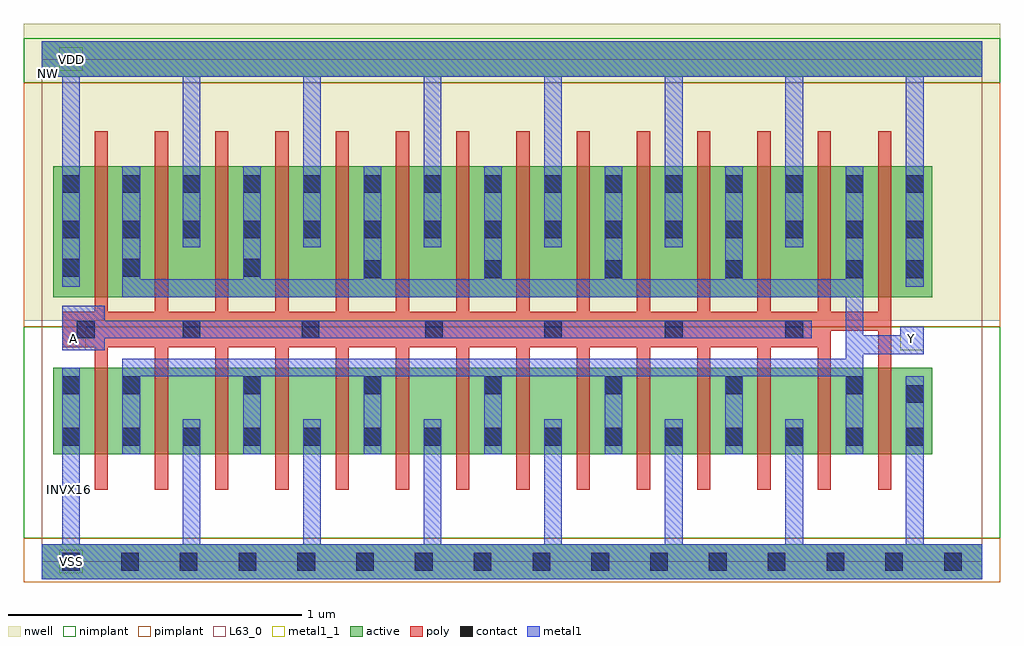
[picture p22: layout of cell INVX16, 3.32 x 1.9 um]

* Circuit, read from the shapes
.subckt INVX16 A NW VDD VSS Y
M1 Y A VSS VSS nfet w=0.295u l=0.045u m=14
M2 Y A VDD NW pfet w=0.445u l=0.045u m=14
.ends

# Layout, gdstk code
import gdstk
lib = gdstk.Library(unit=1e-6, precision=5e-10)
def R(c, l, rs):  # rectangles x0, y0, x1, y1
    for r in rs: c.add(gdstk.rectangle(r[:2], r[2:], *l))
def A(c, l, x, y, w, h, nx, ny, dx, dy):  # array of equal rectangles
    R(c, l, [(x+i*dx, y+j*dy, x+i*dx+w, y+j*dy+h) for i in range(nx) for j in range(ny)])
def P(c, l, *ps):  # polygons
    for p in ps: c.add(gdstk.Polygon(p, *l))
active = (1, 0)
nwell = (2, 0)
poly = (3, 0)
nimplant = (4, 0)
pimplant = (5, 0)
contact = (6, 0)
metal1 = (7, 0)
metal1_1 = (7, 1)
L63_0 = (63, 0)

invx16 = lib.new_cell('INVX16')
R(invx16, active, [(0,-0.06,3.2,0.06), (0.04,0.365,3.03,0.66), (0.04,0.9,3.03,1.345), (0,1.65,3.2,1.77)])
R(invx16, nwell, [(-0.06,0.82,3.26,1.83), (0,1.61,0.05,1.71)])
P(invx16, poly, [(2.89,1.465),(2.845,1.465),(2.845,0.85),(2.685,0.85),(2.685,1.465),(2.64,1.465),(2.64,0.85),(2.48,0.85),(2.48,1.465),(2.435,1.465),(2.435,0.85),(2.275,0.85),(2.275,1.465),(2.23,1.465),(2.23,0.85),(2.07,0.85),(2.07,1.465),(2.025,1.465),(2.025,0.85),(1.865,0.85),(1.865,1.465),(1.82,1.465),(1.82,0.85),(1.66,0.85),(1.66,1.465),(1.615,1.465),(1.615,0.85),(1.455,0.85),(1.455,1.465),(1.41,1.465),(1.41,0.85),(1.25,0.85),(1.25,1.465),(1.205,1.465),(1.205,0.85),(1.045,0.85),(1.045,1.465),(1,1.465),(1,0.85),(0.84,0.85),(0.84,1.465),(0.795,1.465),(0.795,0.85),(0.635,0.85),(0.635,1.465),(0.59,1.465),(0.59,0.85),(0.43,0.85),(0.43,1.465),(0.385,1.465),(0.385,0.85),(0.225,0.85),(0.225,1.465),(0.18,1.465),(0.18,0.85),(0.07,0.85),(0.07,0.73),(0.18,0.73),(0.18,0.245),(0.225,0.245),(0.225,0.73),(0.385,0.73),(0.385,0.245),(0.43,0.245),(0.43,0.73),(0.59,0.73),(0.59,0.245),(0.635,0.245),(0.635,0.73),(0.795,0.73),(0.795,0.245),(0.84,0.245),(0.84,0.73),(1,0.73),(1,0.245),(1.045,0.245),(1.045,0.73),(1.205,0.73),(1.205,0.245),(1.25,0.245),(1.25,0.73),(1.41,0.73),(1.41,0.245),(1.455,0.245),(1.455,0.73),(1.615,0.73),(1.615,0.245),(1.66,0.245),(1.66,0.73),(1.82,0.73),(1.82,0.245),(1.865,0.245),(1.865,0.73),(2.025,0.73),(2.025,0.245),(2.07,0.245),(2.07,0.73),(2.23,0.73),(2.23,0.245),(2.275,0.245),(2.275,0.73),(2.435,0.73),(2.435,0.245),(2.48,0.245),(2.48,0.73),(2.64,0.73),(2.64,0.245),(2.685,0.245),(2.685,0.785),(2.845,0.785),(2.845,0.245),(2.89,0.245)])
R(invx16, nimplant, [(-0.06,0.08,3.26,0.8), (-0.06,1.63,3.26,1.78)])
R(invx16, pimplant, [(-0.06,-0.07,3.26,0.08), (-0.06,0.8,3.26,1.63)])
A(invx16, contact, 0.07, -0.03, 0.06, 0.06, 16, 1, 0.2, 0)
A(invx16, contact, 0.07, 0.395, 0.06, 0.06, 15, 2, 0.205, 0.705)
A(invx16, contact, 0.275, 0.57, 0.06, 0.06, 7, 1, 0.41, 0)
A(invx16, contact, 1.71, 0.76, 0.06, 0.06, 3, 1, 0.41, 0)
A(invx16, contact, 1.095, 0.965, 0.06, 0.06, 5, 1, 0.41, 0)
A(invx16, contact, 0.07, 1.255, 0.06, 0.06, 15, 1, 0.205, 0)
R(invx16, contact, [(2.94,0.54,3,0.6), (0.07,0.57,0.13,0.63), (0.12,0.76,0.18,0.82), (0.48,0.76,0.54,0.82), (0.885,0.76,0.945,0.82), (1.305,0.76,1.365,0.82), (2.94,0.965,3,1.025), (0.07,0.97,0.13,1.03), (0.275,0.97,0.335,1.03), (0.685,0.97,0.745,1.03)])
A(invx16, metal1, 0.48, 0.06, 0.06, 0.425, 6, 1, 0.41, 0)
A(invx16, metal1, 0.48, 1.07, 0.06, 0.58, 6, 1, 0.41, 0)
R(invx16, metal1, [(0.07,0.06,0.13,0.66), (2.94,0.06,3,0.63), (0.07,0.935,0.13,1.65), (2.94,0.935,3,1.65)])
P(invx16, metal1, [(3,0.8),(2.92,0.8),(2.92,0.77),(2.795,0.77),(2.795,1.345),(2.735,1.345),(2.735,0.96),(2.385,0.96),(2.385,1.345),(2.325,1.345),(2.325,0.96),(1.975,0.96),(1.975,1.345),(1.915,1.345),(1.915,0.96),(1.565,0.96),(1.565,1.345),(1.505,1.345),(1.505,0.96),(1.155,0.96),(1.155,1.345),(1.095,1.345),(1.095,0.96),(0.745,0.96),(0.745,1.345),(0.685,1.345),(0.685,0.96),(0.335,0.96),(0.335,1.345),(0.275,1.345),(0.275,0.9),(2.735,0.9),(2.735,0.69),(0.275,0.69),(0.275,0.365),(0.335,0.365),(0.335,0.63),(0.685,0.63),(0.685,0.365),(0.745,0.365),(0.745,0.63),(1.095,0.63),(1.095,0.365),(1.155,0.365),(1.155,0.63),(1.505,0.63),(1.505,0.365),(1.565,0.365),(1.565,0.63),(1.915,0.63),(1.915,0.365),(1.975,0.365),(1.975,0.63),(2.325,0.63),(2.325,0.365),(2.385,0.365),(2.385,0.63),(2.735,0.63),(2.735,0.365),(2.795,0.365),(2.795,0.705),(3,0.705)],
  [(2.62,0.82),(0.215,0.82),(0.215,0.87),(0.07,0.87),(0.07,0.72),(0.215,0.72),(0.215,0.76),(2.62,0.76)])
R(invx16, metal1_1, [(0.06,-0.04,0.14,0.04), (0.07,0.72,0.15,0.8), (2.92,0.72,3,0.8), (0.06,1.67,0.14,1.75)])
R(invx16, L63_0, [(0,0,3.2,1.71)])
invx16.add(gdstk.FlexPath([(0,1.71),(3.2,1.71)], 0.12, ends="flush", simple_path=True, layer=7, datatype=0))  # metal1
invx16.add(gdstk.FlexPath([(0,0),(3.2,0)], 0.12, ends="flush", simple_path=True, layer=7, datatype=0))  # metal1
invx16.add(gdstk.Label('Y', (2.96,0.76), layer=7, texttype=1))
invx16.add(gdstk.Label('VSS', (0.1,0), layer=7, texttype=1))
invx16.add(gdstk.Label('Y', (2.96,0.76), layer=7, texttype=1))
invx16.add(gdstk.Label('VSS', (0.1,0), layer=7, texttype=1))
invx16.add(gdstk.Label('VDD', (0.1,1.71), layer=7, texttype=1))
invx16.add(gdstk.Label('A', (0.11,0.76), layer=7, texttype=1))
invx16.add(gdstk.Label('VDD', (0.1,1.71), layer=7, texttype=1))
invx16.add(gdstk.Label('A', (0.11,0.76), layer=7, texttype=1))
invx16.add(gdstk.Label('INVX16', (0.095,0.245), layer=63, texttype=0))
invx16.add(gdstk.Label('NW', (0.025,1.66), layer=2, texttype=0))
invx16.add(gdstk.Label('NW', (0.025,1.63), layer=2, texttype=0))

lib.write_gds('INVX16.gds')
